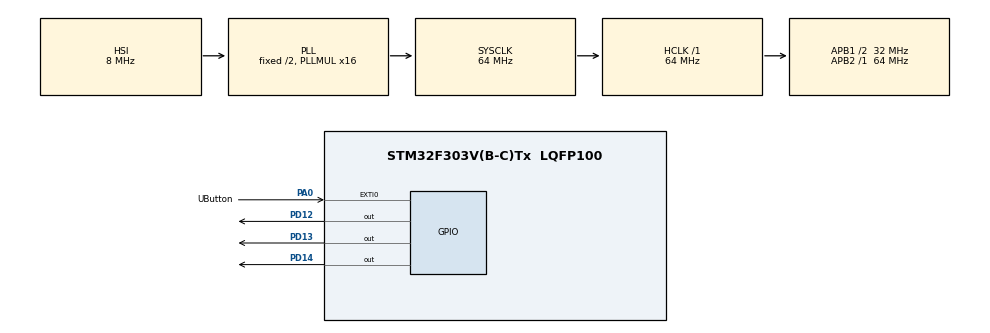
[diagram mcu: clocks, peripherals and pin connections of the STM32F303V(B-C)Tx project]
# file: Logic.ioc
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Mcu.Family=STM32F3
Mcu.Name=STM32F303V(B-C)Tx
Mcu.Package=LQFP100
NVIC.EXTI0_IRQn=true\:0\:0\:false\:false\:true\:true
NVIC.PriorityGroup=NVIC_PRIORITYGROUP_4
PA0.GPIO_Label=UButton
PA0.GPIO_ModeDefaultEXTI=GPIO_MODE_IT_RISING_FALLING
PA0.Signal=GPXTI0
PD12.Signal=GPIO_Output
PD13.Signal=GPIO_Output
PD14.Signal=GPIO_Output
ProjectManager.HeapSize=0x200
ProjectManager.StackSize=0x400
ProjectManager.TargetToolchain=SW4STM32
RCC.AHBFreq_Value=64000000
RCC.APB1CLKDivider=RCC_HCLK_DIV2
RCC.APB1Freq_Value=32000000
RCC.APB1TimFreq_Value=64000000
RCC.APB2Freq_Value=64000000
RCC.APB2TimFreq_Value=64000000
RCC.CortexFreq_Value=64000000
RCC.HCLKFreq_Value=64000000
RCC.HSE_VALUE=8000000
RCC.HSI_VALUE=8000000
RCC.LSE_VALUE=32768
RCC.PLLMUL=RCC_PLL_MUL16
RCC.SYSCLKFreq_VALUE=64000000
RCC.SYSCLKSourceVirtual=RCC_SYSCLKSOURCE_PLLCLK
RCC.USBFreq_Value=64000000
board=custom

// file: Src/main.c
/**
  ******************************************************************************
  * @file           : main.c
  * @brief          : Main program body
  ******************************************************************************
  ** This notice applies to any and all portions of this file
  * that are not between comment pairs USER CODE BEGIN and
  * USER CODE END. Other portions of this file, whether
  * inserted by the user or by software development tools
  * are owned by their respective copyright owners.
  *
  * COPYRIGHT(c) 2019 STMicroelectronics
  *
  * Redistribution and use in source and binary forms, with or without modification,
  * are permitted provided that the following conditions are met:
  *   1. Redistributions of source code must retain the above copyright notice,
  *      this list of conditions and the following disclaimer.
  *   2. Redistributions in binary form must reproduce the above copyright notice,
  *      this list of conditions and the following disclaimer in the documentation
  *      and/or other materials provided with the distribution.
  *   3. Neither the name of STMicroelectronics nor the names of its contributors
  *      may be used to endorse or promote products derived from this software
  *      without specific prior written permission.
  *
  * THIS SOFTWARE IS PROVIDED BY THE COPYRIGHT HOLDERS AND CONTRIBUTORS "AS IS"
  * AND ANY EXPRESS OR IMPLIED WARRANTIES, INCLUDING, BUT NOT LIMITED TO, THE
  * IMPLIED WARRANTIES OF MERCHANTABILITY AND FITNESS FOR A PARTICULAR PURPOSE ARE
  * DISCLAIMED. IN NO EVENT SHALL THE COPYRIGHT HOLDER OR CONTRIBUTORS BE LIABLE
  * FOR ANY DIRECT, INDIRECT, INCIDENTAL, SPECIAL, EXEMPLARY, OR CONSEQUENTIAL
  * DAMAGES (INCLUDING, BUT NOT LIMITED TO, PROCUREMENT OF SUBSTITUTE GOODS OR
  * SERVICES; LOSS OF USE, DATA, OR PROFITS; OR BUSINESS INTERRUPTION) HOWEVER
  * CAUSED AND ON ANY THEORY OF LIABILITY, WHETHER IN CONTRACT, STRICT LIABILITY,
  * OR TORT (INCLUDING NEGLIGENCE OR OTHERWISE) ARISING IN ANY WAY OUT OF THE USE
  * OF THIS SOFTWARE, EVEN IF ADVISED OF THE POSSIBILITY OF SUCH DAMAGE.
  *
  ******************************************************************************
  */
#include "main.h"
#include "stm32f3xx_hal.h"
#include "gpio.h"

/* USER CODE BEGIN PV */
/* Private variables ---------------------------------------------------------*/

/* USER CODE END PV */

void SystemClock_Config(void);

/* USER CODE BEGIN PFP */
/* Private function prototypes -----------------------------------------------*/
volatile int pressed = 7;
volatile int button_is_pressed = 0;
void HAL_GPIO_EXTI_Callback(uint16_t GPIO_Pin)
{
 if( GPIO_Pin == UButton_Pin)
 {
  static uint32_t last_change_tick;
  if( HAL_GetTick() - last_change_tick < 50 )
  {
   return;
  }
  last_change_tick = HAL_GetTick();
  if(button_is_pressed)
  {
   button_is_pressed = 0;
   ++pressed;
   if (pressed == 8){
	   pressed = 0;
   }
  }else
  {
   button_is_pressed = 1;
  }
 }
}
/* USER CODE END PFP */

int main(void)
{

  /* MCU Configuration----------------------------------------------------------*/

  /* Reset of all peripherals, Initializes the Flash interface and the Systick. */
  HAL_Init();

  /* Configure the system clock */
  SystemClock_Config();

  /* Initialize all configured peripherals */
  MX_GPIO_Init();

  /* Infinite loop */
  while (1)
  {
  int A = (pressed >> 2) << 2;
  int B = ((pressed >> 1) << 1) - A;
  int C = pressed - A - B;
  HAL_GPIO_WritePin(GPIOD, GPIO_PIN_12, A);
  HAL_GPIO_WritePin(GPIOD, GPIO_PIN_13, B);
  HAL_GPIO_WritePin(GPIOD, GPIO_PIN_14, C);
  }

}

void SystemClock_Config(void)
{

  RCC_OscInitTypeDef RCC_OscInitStruct;
  RCC_ClkInitTypeDef RCC_ClkInitStruct;

    /**Initializes the CPU, AHB and APB busses clocks
    */
  RCC_OscInitStruct.OscillatorType = RCC_OSCILLATORTYPE_HSI;
  RCC_OscInitStruct.HSIState = RCC_HSI_ON;
  RCC_OscInitStruct.HSICalibrationValue = 16;
  RCC_OscInitStruct.PLL.PLLState = RCC_PLL_ON;
  RCC_OscInitStruct.PLL.PLLSource = RCC_PLLSOURCE_HSI;
  RCC_OscInitStruct.PLL.PLLMUL = RCC_PLL_MUL16;
  if (HAL_RCC_OscConfig(&RCC_OscInitStruct) != HAL_OK)
  {
    _Error_Handler(__FILE__, __LINE__);
  }

    /**Initializes the CPU, AHB and APB busses clocks
    */
  RCC_ClkInitStruct.ClockType = RCC_CLOCKTYPE_HCLK|RCC_CLOCKTYPE_SYSCLK
                              |RCC_CLOCKTYPE_PCLK1|RCC_CLOCKTYPE_PCLK2;
  RCC_ClkInitStruct.SYSCLKSource = RCC_SYSCLKSOURCE_PLLCLK;
  RCC_ClkInitStruct.AHBCLKDivider = RCC_SYSCLK_DIV1;
  RCC_ClkInitStruct.APB1CLKDivider = RCC_HCLK_DIV2;
  RCC_ClkInitStruct.APB2CLKDivider = RCC_HCLK_DIV1;

  if (HAL_RCC_ClockConfig(&RCC_ClkInitStruct, FLASH_LATENCY_2) != HAL_OK)
  {
    _Error_Handler(__FILE__, __LINE__);
  }

    /**Configure the Systick interrupt time
    */
  HAL_SYSTICK_Config(HAL_RCC_GetHCLKFreq()/1000);

    /**Configure the Systick
    */
  HAL_SYSTICK_CLKSourceConfig(SYSTICK_CLKSOURCE_HCLK);

  /* SysTick_IRQn interrupt configuration */
  HAL_NVIC_SetPriority(SysTick_IRQn, 0, 0);
}

void _Error_Handler(char *file, int line)
{
  while(1)
  {
  }
}

/************************ (C) COPYRIGHT STMicroelectronics *****END OF FILE****/
